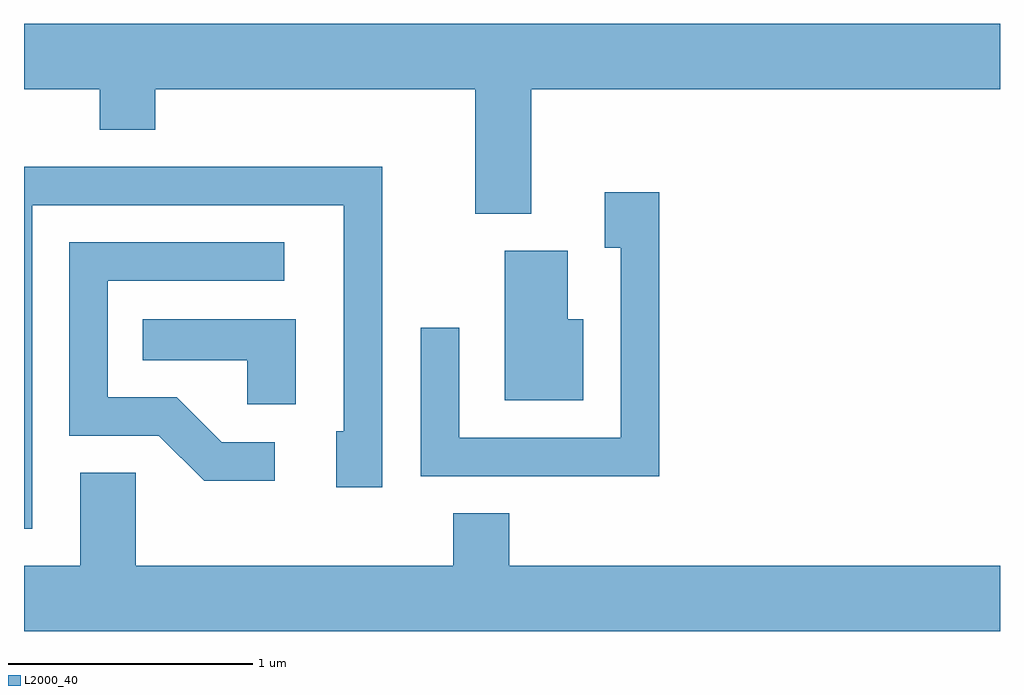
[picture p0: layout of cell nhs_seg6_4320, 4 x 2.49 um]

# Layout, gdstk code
import gdstk
lib = gdstk.Library(unit=1e-6, precision=1e-09)
def P(c, l, *ps):  # polygons
    for p in ps: c.add(gdstk.Polygon(p, *l))
L2000_40 = (2000, 40)

nhs_seg6_4320 = lib.new_cell('nhs_seg6_4320')
P(nhs_seg6_4320, L2000_40, [(319.689,1563.356),(321.611,1563.356),(321.611,1563.624),(317.611,1563.624),(317.611,1563.356),(317.921,1563.356),(317.921,1563.191),(318.149,1563.191),(318.149,1563.356),(319.461,1563.356),(319.461,1562.846),(319.689,1562.846)],
  [(317.644,1562.881),(318.921,1562.881),(318.921,1561.954),(318.891,1561.954),(318.891,1561.726),(319.079,1561.726),(319.079,1563.039),(317.611,1563.039),(317.611,1561.556),(317.644,1561.556)],
  [(320.214,1562.934),(319.991,1562.934),(319.991,1562.706),(320.056,1562.706),(320.056,1561.929),(319.394,1561.929),(319.394,1562.378),(319.236,1562.378),(319.236,1561.771),(320.214,1561.771)],
  [(318.638,1561.909),(318.422,1561.909),(318.237,1562.094),(317.954,1562.094),(317.954,1562.571),(318.678,1562.571),(318.678,1562.729),(317.796,1562.729),(317.796,1561.936),(318.164,1561.936),(318.349,1561.751),(318.638,1561.751)],
  [(319.904,1562.414),(319.839,1562.414),(319.839,1562.694),(319.581,1562.694),(319.581,1562.081),(319.904,1562.081)],
  [(318.724,1562.414),(318.098,1562.414),(318.098,1562.246),(318.526,1562.246),(318.526,1562.066),(318.724,1562.066)],
  [(321.611,1561.404),(319.599,1561.404),(319.599,1561.619),(319.371,1561.619),(319.371,1561.404),(318.069,1561.404),(318.069,1561.784),(317.841,1561.784),(317.841,1561.404),(317.611,1561.404),(317.611,1561.136),(321.611,1561.136)])

lib.write_gds('nhs_seg6_4320.gds')
